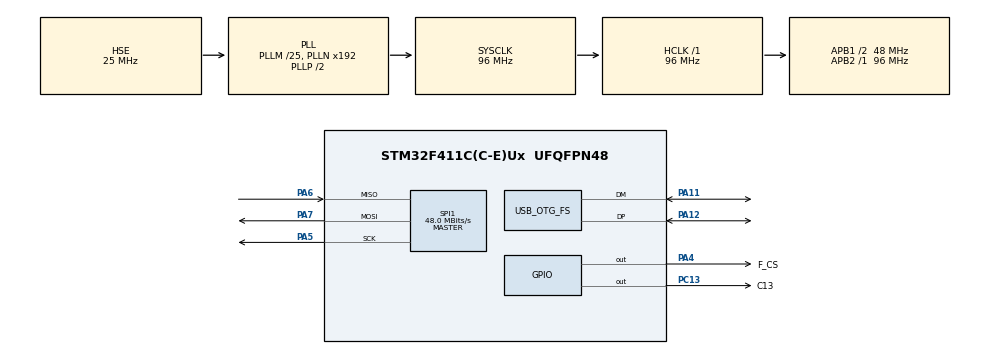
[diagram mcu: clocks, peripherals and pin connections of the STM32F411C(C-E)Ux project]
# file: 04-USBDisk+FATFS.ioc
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FATFS._CODE_PAGE=850
FATFS._MAX_SS=4096
FATFS._MIN_SS=4096
FATFS._USE_LFN=2
Mcu.Family=STM32F4
Mcu.Name=STM32F411C(C-E)Ux
Mcu.Package=UFQFPN48
NVIC.OTG_FS_IRQn=true\:1\:0\:true\:false\:true\:false\:true\:true
NVIC.PriorityGroup=NVIC_PRIORITYGROUP_4
NVIC.RCC_IRQn=true\:0\:0\:true\:false\:true\:true\:false\:true
NVIC.SPI1_IRQn=true\:0\:0\:true\:false\:true\:true\:true\:true
PA11.Mode=Device_Only
PA11.Signal=USB_OTG_FS_DM
PA12.Mode=Device_Only
PA12.Signal=USB_OTG_FS_DP
PA13.Mode=Serial_Wire
PA13.Signal=SYS_JTMS-SWDIO
PA14.Mode=Serial_Wire
PA14.Signal=SYS_JTCK-SWCLK
PA4.GPIO_Label=F_CS
PA4.GPIO_Speed=GPIO_SPEED_FREQ_VERY_HIGH
PA4.PinState=GPIO_PIN_SET
PA4.Signal=GPIO_Output
PA5.Mode=Full_Duplex_Master
PA5.Signal=SPI1_SCK
PA6.Mode=Full_Duplex_Master
PA6.Signal=SPI1_MISO
PA7.Mode=Full_Duplex_Master
PA7.Signal=SPI1_MOSI
PC13-ANTI_TAMP.GPIO_Label=C13
PC13-ANTI_TAMP.PinState=GPIO_PIN_SET
PC13-ANTI_TAMP.Signal=GPIO_Output
PC14-OSC32_IN.Mode=LSE-External-Oscillator
PC14-OSC32_IN.Signal=RCC_OSC32_IN
PC15-OSC32_OUT.Mode=LSE-External-Oscillator
PC15-OSC32_OUT.Signal=RCC_OSC32_OUT
PH0\ -\ OSC_IN.Mode=HSE-External-Oscillator
PH0\ -\ OSC_IN.Signal=RCC_OSC_IN
PH1\ -\ OSC_OUT.Mode=HSE-External-Oscillator
PH1\ -\ OSC_OUT.Signal=RCC_OSC_OUT
ProjectManager.HeapSize=0x2000
ProjectManager.StackSize=0x400
ProjectManager.TargetToolchain=MDK-ARM V5.27
RCC.48MHZClocksFreq_Value=48000000
RCC.AHBFreq_Value=96000000
RCC.APB1CLKDivider=RCC_HCLK_DIV2
RCC.APB1Freq_Value=48000000
RCC.APB1TimFreq_Value=96000000
RCC.APB2Freq_Value=96000000
RCC.APB2TimFreq_Value=96000000
RCC.CortexFreq_Value=96000000
RCC.HCLKFreq_Value=96000000
RCC.HSE_VALUE=25000000
RCC.HSI_VALUE=16000000
RCC.PLLM=25
RCC.RCC_RTC_Clock_Source=RCC_RTCCLKSOURCE_LSE
RCC.RCC_RTC_Clock_SourceVirtual=RCC_RTCCLKSOURCE_LSE
RCC.SYSCLKFreq_VALUE=96000000
RCC.SYSCLKSource=RCC_SYSCLKSOURCE_PLLCLK
RCC.VCOOutputFreq_Value=192000000
RTC.Month=RTC_MONTH_APRIL
RTC.Year=19
SPI1.BaudRatePrescaler=SPI_BAUDRATEPRESCALER_2
SPI1.CalculateBaudRate=48.0 MBits/s
SPI1.Direction=SPI_DIRECTION_2LINES
SPI1.Mode=SPI_MODE_MASTER
SPI1.VirtualType=VM_MASTER
USB_DEVICE.CLASS_NAME_FS=MSC
USB_DEVICE.MSC_MEDIA_PACKET=4096
USB_DEVICE.VirtualMode=Msc
USB_DEVICE.VirtualMode-MSC_FS=Msc
USB_DEVICE.VirtualModeFS=Msc_FS
USB_OTG_FS.VirtualMode=Device_Only
VP_FATFS_VS_Generic.Mode=User_defined
VP_RTC_VS_RTC_Activate.Mode=RTC_Enabled
VP_RTC_VS_RTC_Calendar.Mode=RTC_Calendar
VP_USB_DEVICE_VS_USB_DEVICE_MSC_FS.Mode=MSC_FS
board=custom

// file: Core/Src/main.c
/* USER CODE BEGIN Header */
/**
  ******************************************************************************
  * @file           : main.c
  * @brief          : Main program body
  ******************************************************************************
  * @attention
  *
  * Copyright (c) 2026 STMicroelectronics.
  * All rights reserved.
  *
  * This software is licensed under terms that can be found in the LICENSE file
  * in the root directory of this software component.
  * If no LICENSE file comes with this software, it is provided AS-IS.
  *
  ******************************************************************************
  */
/* USER CODE END Header */
#include "main.h"
#include "fatfs.h"
#include "rtc.h"
#include "spi.h"
#include "usb_device.h"
#include "gpio.h"

void SystemClock_Config(void);

int main(void)
{

  /* MCU Configuration--------------------------------------------------------*/

  /* Reset of all peripherals, Initializes the Flash interface and the Systick. */
  HAL_Init();

  /* Configure the system clock */
  SystemClock_Config();

  /* Initialize all configured peripherals */
  MX_GPIO_Init();
  MX_SPI1_Init();
  MX_FATFS_Init();
  MX_USB_DEVICE_Init();
  MX_RTC_Init();

  /* Infinite loop */
  while (1)
  {

    /* USER CODE BEGIN 3 */
    static uint8_t pwmset;
    static uint16_t time;
    static uint8_t timeflag;
    static uint8_t timecount;

     /* ������ */
    if(timeflag == 0)
    {
       time ++;
      if(time >= 1600) timeflag = 1;
    }
    else
    {
       time --;
      if(time == 0) timeflag = 0;
    }

    /* ռ�ձ����� */
    pwmset = time/80;

    /* 20ms ���� */
    if(timecount > 20) timecount = 0;
    else timecount ++;

    if(timecount >= pwmset ) HAL_GPIO_WritePin(C13_GPIO_Port,C13_Pin,GPIO_PIN_SET);
    else HAL_GPIO_WritePin(C13_GPIO_Port,C13_Pin,GPIO_PIN_RESET);

    HAL_Delay(0);
  }
  /* USER CODE END 3 */
}

void SystemClock_Config(void)
{
  RCC_OscInitTypeDef RCC_OscInitStruct = {0};
  RCC_ClkInitTypeDef RCC_ClkInitStruct = {0};

  /** Configure the main internal regulator output voltage
  */
  __HAL_RCC_PWR_CLK_ENABLE();
  __HAL_PWR_VOLTAGESCALING_CONFIG(PWR_REGULATOR_VOLTAGE_SCALE1);

  /** Initializes the RCC Oscillators according to the specified parameters
  * in the RCC_OscInitTypeDef structure.
  */
  RCC_OscInitStruct.OscillatorType = RCC_OSCILLATORTYPE_HSE|RCC_OSCILLATORTYPE_LSE;
  RCC_OscInitStruct.HSEState = RCC_HSE_ON;
  RCC_OscInitStruct.LSEState = RCC_LSE_ON;
  RCC_OscInitStruct.PLL.PLLState = RCC_PLL_ON;
  RCC_OscInitStruct.PLL.PLLSource = RCC_PLLSOURCE_HSE;
  RCC_OscInitStruct.PLL.PLLM = 25;
  RCC_OscInitStruct.PLL.PLLN = 192;
  RCC_OscInitStruct.PLL.PLLP = RCC_PLLP_DIV2;
  RCC_OscInitStruct.PLL.PLLQ = 4;
  if (HAL_RCC_OscConfig(&RCC_OscInitStruct) != HAL_OK)
  {
    Error_Handler();
  }

  /** Initializes the CPU, AHB and APB buses clocks
  */
  RCC_ClkInitStruct.ClockType = RCC_CLOCKTYPE_HCLK|RCC_CLOCKTYPE_SYSCLK
                              |RCC_CLOCKTYPE_PCLK1|RCC_CLOCKTYPE_PCLK2;
  RCC_ClkInitStruct.SYSCLKSource = RCC_SYSCLKSOURCE_PLLCLK;
  RCC_ClkInitStruct.AHBCLKDivider = RCC_SYSCLK_DIV1;
  RCC_ClkInitStruct.APB1CLKDivider = RCC_HCLK_DIV2;
  RCC_ClkInitStruct.APB2CLKDivider = RCC_HCLK_DIV1;

  if (HAL_RCC_ClockConfig(&RCC_ClkInitStruct, FLASH_LATENCY_3) != HAL_OK)
  {
    Error_Handler();
  }
}

void Error_Handler(void)
{
  __disable_irq();
  while (1)
  {
  }
}
